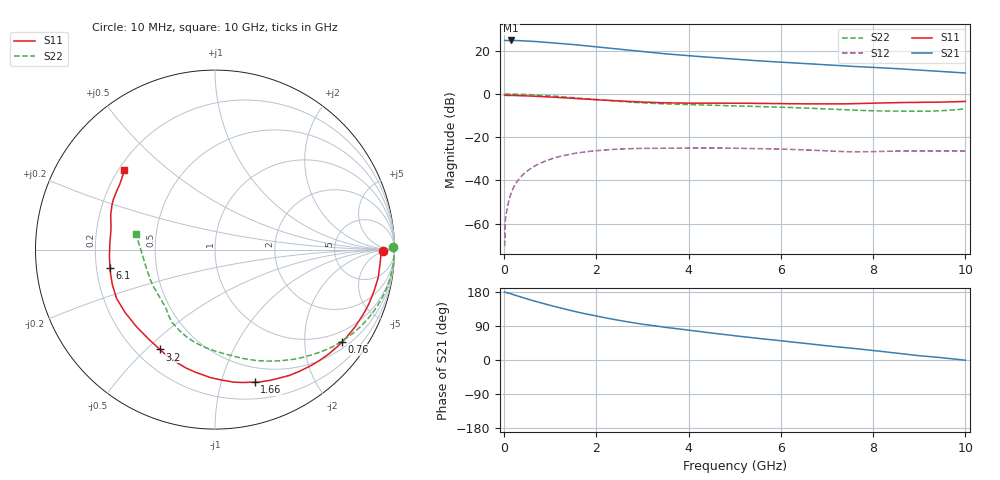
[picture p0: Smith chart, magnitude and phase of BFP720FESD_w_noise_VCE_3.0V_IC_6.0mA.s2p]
! Infineon Technologies  Discrete & RF Semiconductors
! BFP720FESD
! VCE =  3.0 V,  IC =  6.0 mA
! Common Emitter S-Parameters:  Jan 2016
# GHz  S  MA  R  50
!  f  S11  S21  S12  S22
! GHz  MAG  ANG  MAG  ANG  MAG  ANG  MAG  ANG
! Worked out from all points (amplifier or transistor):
!   233 points, 10 MHz to 10 GHz, reference 50 ohm
!   highest |S21| = 24.7 dB at 150 MHz (marker M1)
!   |S21| within 3 dB of that: start of sweep to 2.015 GHz
!   unconditionally stable (mu >= 1): 6.951 GHz to end of sweep
!   at 200 MHz: K = 0.03, MSG = 34.1 dB, |S12| = -43.5 dB
!   at 1.74 GHz: K = 0.21, MSG = 24.6 dB, |S12| = -26.9 dB
!   at 10 GHz: K = 1.43, MAG = 14.2 dB, |S12| = -26.4 dB
!   lowest NFmin = 0.55 dB at 450 MHz
!   S11 on the Smith chart (normalised r, x): 10 MHz: 30, -3; 760 MHz: 0.67, -2.95; 1.66 GHz: 0.35, -1.28; 3.2 GHz: 0.30, -0.55; 6.1 GHz: 0.26, -0.08; 10 GHz: 0.22, +0.36
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0.01  0.9355 -0.4  17.22 179.3  0.0003 -92.9  0.9897 0.8
0.02  0.9245 -1.0  17.18 179.0  0.001 86.8  0.9965 -0.5
0.03  0.9245 -1.4  17.16 178.6  0.0013 86.2  0.9969 -0.8
0.15  0.9229 -7.5  17.24 174.3  0.005 84.7  0.9962 -4.9
0.45  0.9051 -21.7  16.83 163.0  0.0149 76.6  0.9754 -14.3
0.76  0.8752 -35.9  16.07 152.1  0.0242 67.7  0.937 -23.8
0.98  0.8512 -45.7  15.47 144.8  0.0303 61.8  0.9044 -30.2
1.2  0.8256 -55.2  14.82 137.9  0.0356 56.2  0.8687 -36.4
1.4  0.8007 -63.5  14.18 131.8  0.0397 51.2  0.8338 -41.9
1.66  0.7707 -73.4  13.35 124.5  0.0441 45.2  0.7901 -48.4
1.68  0.7683 -74.2  13.29 124.0  0.0444 44.8  0.7869 -48.9
2.02  0.7325 -85.7  12.19 115.4  0.0488 38.2  0.7358 -56.7
2.4  0.696 -97.7  11.1 106.6  0.0523 31.7  0.685 -65.1
2.82  0.6605 -109.9  9.981 97.8  0.0544 25.2  0.6369 -73.5
3.2  0.6352 -118.9  9.088 91.3  0.0551 21.0  0.6063 -79.4
3.4  0.6256 -123.4  8.662 87.9  0.0553 19.1  0.5936 -82.2
4.1  0.6115 -137.3  7.514 77.2  0.0559 13.7  0.5626 -90.7
5.1  0.6098 -155.2  6.251 62.6  0.0551 7.0  0.5259 -103.2
6.1  0.5937 -170.3  5.36 49.4  0.0525 2.3  0.4881 -114.9
6.8  0.5866 178.6  4.839 40.2  0.0491 0.6  0.4581 -123.1
8.4  0.6258 156.5  3.899 19.6  0.0473 6.8  0.4005 -148.7
10  0.6706 138.9  3.044 -0.6  0.0478 7.6  0.4499 168.7
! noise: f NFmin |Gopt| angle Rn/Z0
0.45  0.55  0.51  3  0.14
2.4  0.67  0.32  30  0.15
5.5  0.83  0.37  108  0.1
10  1.36  0.31  -161  0.09
